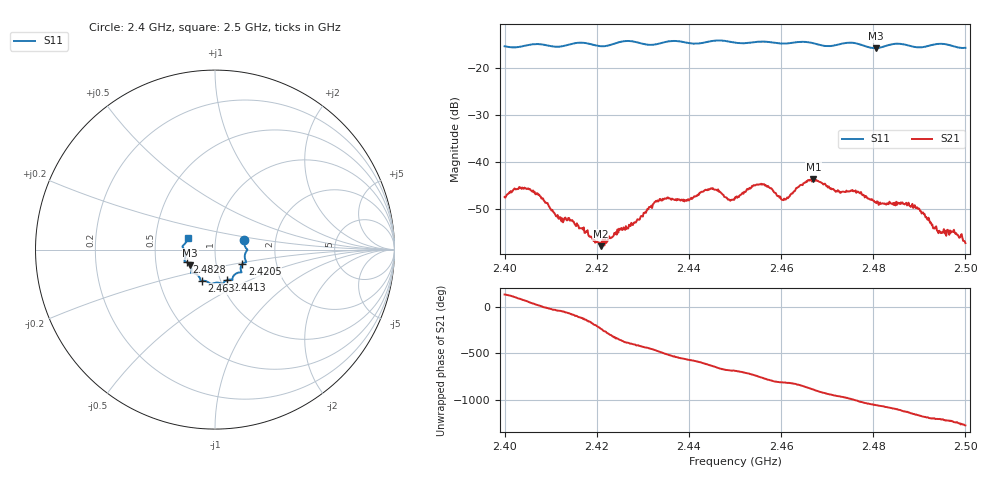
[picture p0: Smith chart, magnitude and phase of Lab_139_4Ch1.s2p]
# Hz S RI R
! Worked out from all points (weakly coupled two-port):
!   601 points, 2.4 GHz to 2.5 GHz, reference 50 ohm
!   highest |S21| = -43.75 dB at 2.467 GHz (marker M1); lowest = -58.0 dB at 2.4208 GHz (marker M2)
!   lowest |S11| = -15.7 dB at 2.4805 GHz (marker M3), VSWR 1.39, Z = 37.3 - j6.69 ohm
!   |S11| at or under -10 dB: start of sweep to end of sweep
!   S12 and S22 are empty: the file has one direction only
!   S11 on the Smith chart (normalised r, x): 2.4 GHz: 1.38, +0.15; 2.4205 GHz: 1.34, -0.22; 2.4413 GHz: 1.08, -0.38; 2.463 GHz: 0.82, -0.29; 2.4828 GHz: 0.72, -0.10; 2.5 GHz: 0.73, +0.10
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2.4e9  0.1628 0.0528  -0.0027 0.00325  0 0  0 0
2.405167e9  0.1768 0.00326  0.00329 0.00404  0 0  0 0
2.412167e9  0.1656 -0.0385  0.00178 -0.00182  0 0  0 0
2.416667e9  0.1734 -0.0697  -0.00105 -0.00165  0 0  0 0
2.4205e9  0.1519 -0.0809  -0.00101 0.000907  0 0  0 0
2.420833e9  0.1498 -0.0835  -0.000712 0.00104  0 0  0 0
2.433333e9  0.1005 -0.1514  -0.00186 -0.00329  0 0  0 0
2.441333e9  0.0676 -0.1696  -0.00313 0.00291  0 0  0 0
2.445167e9  0.0432 -0.1905  0.000763 0.0052  0 0  0 0
2.45e9  0.0247 -0.1857  0.00355 0.0022  0 0  0 0
2.455167e9  -0.0171 -0.1908  0.00494 -0.00293  0 0  0 0
2.4605e9  -0.0508 -0.1757  -0.000193 -0.0039  0 0  0 0
2.463e9  -0.0721 -0.1737  -0.00151 -0.00466  0 0  0 0
2.466667e9  -0.0815 -0.1673  -0.00596 -0.00164  0 0  0 0
2.467e9  -0.082 -0.1651  -0.00639 -0.00116  0 0  0 0
2.4805e9  -0.1382 -0.0871  0.00337 0.00154  0 0  0 0
2.482833e9  -0.1585 -0.0701  0.00348 0.000232  0 0  0 0
2.483333e9  -0.1624 -0.0684  0.00354 -1.84e-05  0 0  0 0
2.4895e9  -0.1644 -0.0289  0.000524 -0.00324  0 0  0 0
2.494333e9  -0.1809 0.0162  -0.00106 -0.0015  0 0  0 0
2.4975e9  -0.1675 0.0328  -0.00175 -0.000703  0 0  0 0
2.5e9  -0.152 0.0639  -0.00132 0.000327  0 0  0 0
